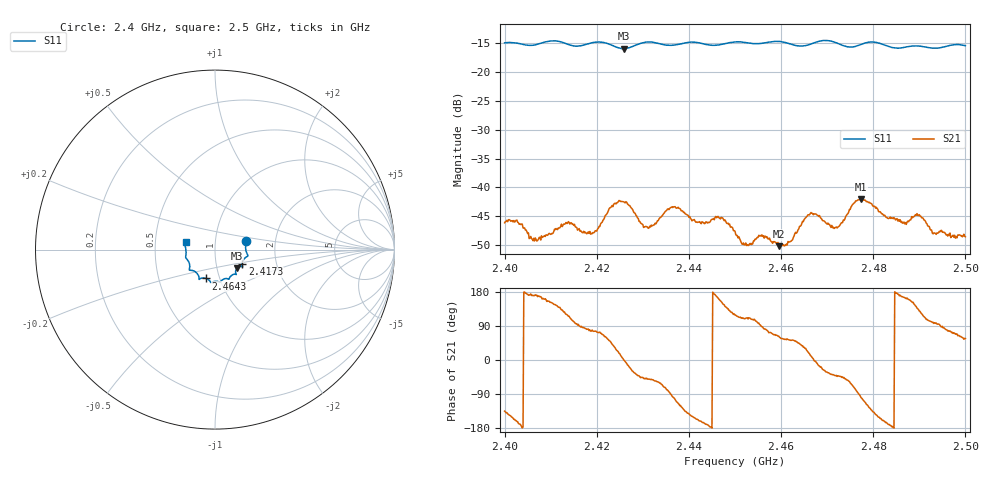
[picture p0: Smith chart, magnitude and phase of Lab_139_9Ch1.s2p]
# Hz S RI R 50
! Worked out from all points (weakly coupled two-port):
!   601 points, 2.4 GHz to 2.5 GHz, reference 50 ohm
!   highest |S21| = -42.12 dB at 2.4773 GHz (marker M1); lowest = -50.2 dB at 2.4595 GHz (marker M2)
!   lowest |S11| = -15.9 dB at 2.4258 GHz (marker M3), VSWR 1.38, Z = 62.3 - j13.2 ohm
!   |S11| at or under -10 dB: start of sweep to end of sweep
!   S12 and S22 are empty: the file has one direction only
!   S11 on the Smith chart (normalised r, x): 2.4 GHz: 1.41, +0.14; 2.4173 GHz: 1.34, -0.23; 2.4643 GHz: 0.86, -0.28; 2.5 GHz: 0.72, +0.06
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2.4e9  0.1728 0.0486  -0.00347 -0.00348  0 0  0 0
2.406667e9  0.1723 -0.00637  -0.0036 0.0005  0 0  0 0
2.4135e9  0.1703 -0.0438  -0.00242 0.0042  0 0  0 0
2.416667e9  0.1527 -0.0743  8.33e-05 0.00412  0 0  0 0
2.417333e9  0.1518 -0.0819  0.000377 0.00401  0 0  0 0
2.425833e9  0.1218 -0.1036  0.00748 4.43e-05  0 0  0 0
2.430667e9  0.1184 -0.1383  0.00296 -0.00349  0 0  0 0
2.433333e9  0.1129 -0.1371  0.0027 -0.00436  0 0  0 0
2.437167e9  0.0864 -0.1495  -0.00197 -0.00633  0 0  0 0
2.446833e9  0.0416 -0.1682  -0.00486 0.00214  0 0  0 0
2.45e9  0.0289 -0.1808  -0.00198 0.00365  0 0  0 0
2.452e9  0.0227 -0.1798  -0.00101 0.00299  0 0  0 0
2.455667e9  -0.00406 -0.1774  4.9e-05 0.00377  0 0  0 0
2.4595e9  -0.0232 -0.1834  0.0014 0.00275  0 0  0 0
2.464333e9  -0.0498 -0.1607  0.00358 0.00299  0 0  0 0
2.466667e9  -0.0759 -0.1594  0.00589 0.000832  0 0  0 0
2.472e9  -0.0885 -0.1563  0.00343 -0.00295  0 0  0 0
2.477333e9  -0.1296 -0.1157  -0.00121 -0.00774  0 0  0 0
2.483333e9  -0.1408 -0.0898  -0.00528 -0.000898  0 0  0 0
2.489667e9  -0.1633 -0.0424  -0.00404 0.00402  0 0  0 0
2.493333e9  -0.1609 -0.0102  -0.000568 0.00397  0 0  0 0
2.5e9  -0.1641 0.0428  0.00205 0.0031  0 0  0 0
